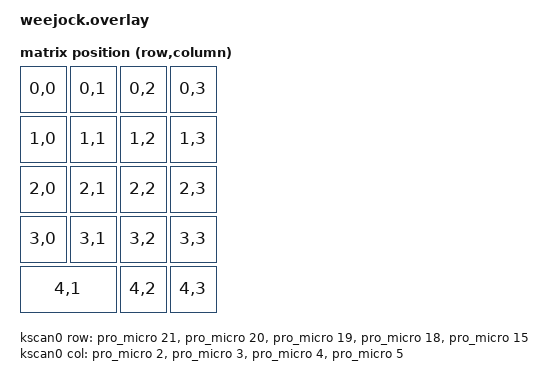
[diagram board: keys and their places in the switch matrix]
#include <dt-bindings/zmk/matrix_transform.h>
#include <physical_layouts.dtsi>


/ {
  kscan0: kscan0 {
    compatible = "zmk,kscan-gpio-matrix";
    diode-direction = "col2row";
    wakeup-source;

    col-gpios
      = <&pro_micro 2 GPIO_ACTIVE_HIGH>
      , <&pro_micro 3 GPIO_ACTIVE_HIGH>
      , <&pro_micro 4 GPIO_ACTIVE_HIGH>
      , <&pro_micro 5 GPIO_ACTIVE_HIGH>
      ;

    row-gpios
      = <&pro_micro 21 (GPIO_ACTIVE_HIGH | GPIO_PULL_DOWN)>
      , <&pro_micro 20 (GPIO_ACTIVE_HIGH | GPIO_PULL_DOWN)>
      , <&pro_micro 19 (GPIO_ACTIVE_HIGH | GPIO_PULL_DOWN)>
      , <&pro_micro 18 (GPIO_ACTIVE_HIGH | GPIO_PULL_DOWN)>
      , <&pro_micro 15 (GPIO_ACTIVE_HIGH | GPIO_PULL_DOWN)>
      ;
  };

  default_transform: keymap_transform0 {
    compatible = "zmk,matrix-transform";
    columns = <4>;
    rows = <5>;
    map = <
      RC(0,0) RC(0,1) RC(0,2) RC(0,3)
      RC(1,0) RC(1,1) RC(1,2) RC(1,3)
      RC(2,0) RC(2,1) RC(2,2) RC(2,3)
      RC(3,0) RC(3,1) RC(3,2) RC(3,3)
              RC(4,1) RC(4,2) RC(4,3)
    >;
  };

  default_layout: default_layout {
    compatible = "zmk,physical-layout";
    display-name = "Wee Jock";
    transform = <&default_transform>;
    kscan = <&kscan0>;
    keys  //                     w   h    x    y     rot    rx    ry
      = <&key_physical_attrs 100 100    0    0       0     0     0>
      , <&key_physical_attrs 100 100  100    0       0     0     0>
      , <&key_physical_attrs 100 100  200    0       0     0     0>
      , <&key_physical_attrs 100 100  300    0       0     0     0>

      , <&key_physical_attrs 100 100    0  100       0     0     0>
      , <&key_physical_attrs 100 100  100  100       0     0     0>
      , <&key_physical_attrs 100 100  200  100       0     0     0>
      , <&key_physical_attrs 100 100  300  100       0     0     0>

      , <&key_physical_attrs 100 100    0  200       0     0     0>
      , <&key_physical_attrs 100 100  100  200       0     0     0>
      , <&key_physical_attrs 100 100  200  200       0     0     0>
      , <&key_physical_attrs 100 100  300  200       0     0     0>

      , <&key_physical_attrs 100 100    0  300       0     0     0>
      , <&key_physical_attrs 100 100  100  300       0     0     0>
      , <&key_physical_attrs 100 100  200  300       0     0     0>
      , <&key_physical_attrs 100 100  300  300       0     0     0>

      , <&key_physical_attrs 200 100    0  400       0     0     0>
      , <&key_physical_attrs 100 100  200  400       0     0     0>
      , <&key_physical_attrs 100 100  300  400       0     0     0>
      ;
  };

  chosen {
    zmk,physical-layout = &default_layout;
  };
};
